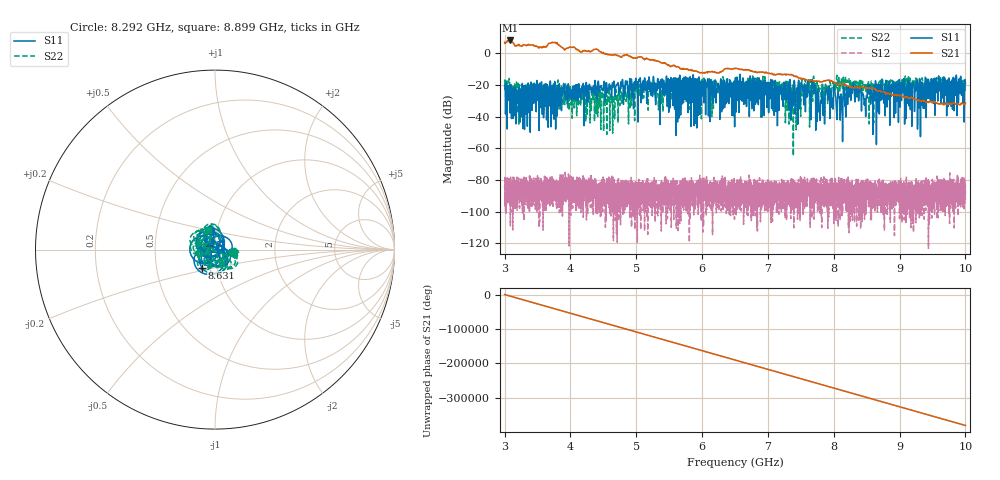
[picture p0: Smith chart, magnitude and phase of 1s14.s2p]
!Agilent Technologies,E8363B,MY43030572,A.06.04.32
!Agilent E8363B: A.06.04.32
!Date: Monday, June 06, 2011 14:26:07
!Correction: S11(Full 2 Port(1,2)) S21(Full 2 Port(1,2)) S12(Full 2 Port(1,2)) S22(Full 2 Port(1,2))
!S2P File: Measurements: S11, S21, S12, S22:
# Hz S  dB  R 50
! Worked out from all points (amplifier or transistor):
!   6401 points, 3 GHz to 10 GHz, reference 50 ohm
!   highest |S21| = 8.1 dB at 3.08 GHz (marker M1)
!   |S21| within 3 dB of that: 3.652 GHz to 3.827 GHz (174.1 MHz wide, 4.66 % of centre)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
!   unconditionally stable (mu >= 1): start of sweep to end of sweep
!   at 4.166 GHz: K = 7294.70, MAG = 1.0 dB, |S12| = -84.3 dB
!   at 6.5 GHz: K = 25172.25, MAG = -9.4 dB, |S12| = -84.8 dB
!   at 10 GHz: K = 733268.65, MAG = -31.2 dB, |S12| = -92.2 dB
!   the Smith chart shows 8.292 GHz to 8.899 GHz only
!   S11 on the Smith chart (normalised r, x): 8.292 GHz: 0.92, +0.20; 8.631 GHz: 0.85, -0.17; 8.899 GHz: 1.20, -0.03
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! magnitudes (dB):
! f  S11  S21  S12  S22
! 3 GHz  -20.8  7.0  -83.6  -16.5
! 3.08 GHz  -29.7  8.1  -82.6  -22.9
! 3.224 GHz  -21.3  5.2  -89.6  -20.2
! 4.167 GHz  -22.4  1.0  -97.3  -24.3
! 4.354 GHz  -21.8  2.4  -82.4  -20.9
! 4.648 GHz  -21.3  -1.3  -78.3  -29.2
! 5.131 GHz  -16.2  -3.8  -89.2  -19.4
! 5.334 GHz  -19.4  -5.1  -88.7  -30.4
! 5.996 GHz  -18.0  -12.3  -87.1  -19.7
! 6.5 GHz  -19.0  -9.5  -84.8  -21.8
! 7.052 GHz  -22.8  -12.8  -101.8  -18.3
! 7.353 GHz  -27.4  -13.5  -82.9  -21.2
! 7.667 GHz  -17.6  -17.2  -88.2  -18.5
! 7.761 GHz  -22.2  -17.7  -81.2  -20.4
! 7.904 GHz  -27.0  -17.0  -81.5  -27.4
! 8.108 GHz  -26.2  -19.4  -83.3  -21.0
! 8.292 GHz  -19.1  -21.6  -89.9  -19.7
! 8.455 GHz  -27.3  -21.7  -88.0  -21.3
! 8.631 GHz  -18.1  -22.7  -80.7  -25.9
! 8.834 GHz  -19.5  -25.2  -88.1  -20.5
! 8.899 GHz  -20.6  -26.5  -83.0  -18.8
! 10 GHz  -19.2  -31.3  -92.2  -19.3
